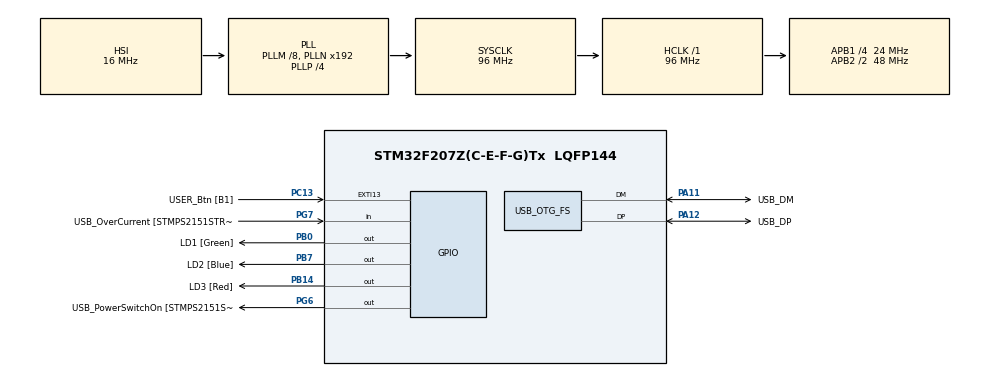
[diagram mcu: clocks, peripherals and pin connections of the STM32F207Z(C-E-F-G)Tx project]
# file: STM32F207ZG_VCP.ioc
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Mcu.Family=STM32F2
Mcu.Name=STM32F207Z(C-E-F-G)Tx
Mcu.Package=LQFP144
NVIC.OTG_FS_IRQn=true\:0\:0\:false\:false\:true\:false\:true\:true
NVIC.PriorityGroup=NVIC_PRIORITYGROUP_4
PA1.GPIO_Label=RMII_REF_CLK [LAN8742A-CZ-TR_REFCLK0]
PA1.Signal=ETH_REF_CLK
PA10.GPIO_Label=USB_ID
PA10.Signal=USB_OTG_FS_ID
PA11.GPIO_Label=USB_DM
PA11.Mode=Device_Only
PA11.Signal=USB_OTG_FS_DM
PA12.GPIO_Label=USB_DP
PA12.Mode=Device_Only
PA12.Signal=USB_OTG_FS_DP
PA13.GPIO_Label=TMS
PA13.Signal=SYS_JTMS-SWDIO
PA14.GPIO_Label=TCK
PA14.Signal=SYS_JTCK-SWCLK
PA2.GPIO_Label=RMII_MDIO [LAN8742A-CZ-TR_MDIO]
PA2.Signal=ETH_MDIO
PA7.GPIO_Label=RMII_CRS_DV [LAN8742A-CZ-TR_CRS_DV]
PA7.Signal=ETH_CRS_DV
PA8.GPIO_Label=USB_SOF [TP1]
PA8.Signal=USB_OTG_FS_SOF
PA9.GPIO_Label=USB_VBUS
PA9.Signal=USB_OTG_FS_VBUS
PB0.GPIO_Label=LD1 [Green]
PB0.Signal=GPIO_Output
PB13.GPIO_Label=RMII_TXD1 [LAN8742A-CZ-TR_TXD1]
PB13.Signal=ETH_TXD1
PB14.GPIO_Label=LD3 [Red]
PB14.Signal=GPIO_Output
PB3.GPIO_Label=SWO
PB3.Signal=SYS_JTDO-SWO
PB7.GPIO_Label=LD2 [Blue]
PB7.Signal=GPIO_Output
PC1.GPIO_Label=RMII_MDC [LAN8742A-CZ-TR_MDC]
PC1.Signal=ETH_MDC
PC13.GPIO_Label=USER_Btn [B1]
PC13.Signal=GPXTI13
PC14-OSC32_IN.Signal=RCC_OSC32_IN
PC15-OSC32_OUT.Signal=RCC_OSC32_OUT
PC4.GPIO_Label=RMII_RXD0 [LAN8742A-CZ-TR_RXD0]
PC4.Signal=ETH_RXD0
PC5.GPIO_Label=RMII_RXD1 [LAN8742A-CZ-TR_RXD1]
PC5.Signal=ETH_RXD1
PD8.GPIO_Label=STLK_RX [STM32F103CBT6_PA3]
PD8.Signal=USART3_TX
PD9.GPIO_Label=STLK_TX [STM32F103CBT6_PA2]
PD9.Signal=USART3_RX
PG11.GPIO_Label=RMII_TX_EN [LAN8742A-CZ-TR_TXEN]
PG11.Signal=ETH_TX_EN
PG13.GPIO_Label=RMII_TXD0 [LAN8742A-CZ-TR_TXD0]
PG13.Signal=ETH_TXD0
PG6.GPIO_Label=USB_PowerSwitchOn [STMPS2151STR_EN]
PG6.Signal=GPIO_Output
PG7.GPIO_Label=USB_OverCurrent [STMPS2151STR_FAULT]
PG7.Signal=GPIO_Input
PH0-OSC_IN.GPIO_Label=MCO [STM32F103CBT6_PA8]
PH0-OSC_IN.Signal=RCC_OSC_IN
PH1-OSC_OUT.Signal=RCC_OSC_OUT
ProjectManager.HeapSize=0x200
ProjectManager.StackSize=0x400
ProjectManager.TargetToolchain=STM32CubeIDE
RCC.48MHZClocksFreq_Value=48000000
RCC.AHBFreq_Value=96000000
RCC.APB1CLKDivider=RCC_HCLK_DIV4
RCC.APB1Freq_Value=24000000
RCC.APB1TimFreq_Value=48000000
RCC.APB2CLKDivider=RCC_HCLK_DIV2
RCC.APB2Freq_Value=48000000
RCC.APB2TimFreq_Value=96000000
RCC.CortexFreq_Value=96000000
RCC.HCLKFreq_Value=96000000
RCC.HSE_VALUE=8000000
RCC.HSI_VALUE=16000000
RCC.LSE_VALUE=32768
RCC.PLLM=8
RCC.PLLMUL=RCC_PLL_MUL9
RCC.PLLP=RCC_PLLP_DIV4
RCC.PLLQ=8
RCC.PRESCALERUSB=RCC_USBCLKSOURCE_PLL_DIV1_5
RCC.SYSCLKFreq_VALUE=96000000
RCC.SYSCLKSource=RCC_SYSCLKSOURCE_PLLCLK
RCC.SYSCLKSourceVirtual=RCC_SYSCLKSOURCE_PLLCLK
RCC.USBFreq_Value=48000000
RCC.VCOOutputFreq_Value=384000000
USB_DEVICE.CLASS_NAME_FS=CDC
USB_DEVICE.VirtualMode-CDC_FS=Cdc
USB_DEVICE.VirtualModeFS=Cdc_FS
USB_OTG_FS.VirtualMode=Device_Only
VP_USB_DEVICE_VS_USB_DEVICE_CDC_FS.Mode=CDC_FS
board=NUCLEO-F207ZG

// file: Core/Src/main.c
/* USER CODE BEGIN Header */
/**
  ******************************************************************************
  * @file           : main.c
  * @brief          : Main program body
  ******************************************************************************
  * @attention
  *
  * Copyright (c) 2022 STMicroelectronics.
  * All rights reserved.
  *
  * This software is licensed under terms that can be found in the LICENSE file
  * in the root directory of this software component.
  * If no LICENSE file comes with this software, it is provided AS-IS.
  *
  ******************************************************************************
  */

// elab: armando.rivero@supsi.ch
// date: 2022.08.19

/* USER CODE END Header */
#include "main.h"
#include "usb_device.h"

/* USER CODE BEGIN Includes */
#include <stdlib.h>
#include <string.h>
#include <stdio.h>
/* USER CODE END Includes */

/* USER CODE BEGIN PD */
#define VCP_BUFF_SIZE   100
#define VCP_BUFF_SIZE_2 5000
/* USER CODE END PD */

/* USER CODE BEGIN PV */
extern uint8_t CDC_Transmit_FS(uint8_t* Buf, uint16_t Len); // allows transmitting
/* USER CODE END PV */

void SystemClock_Config(void);
static void MX_GPIO_Init(void);

/* USER CODE BEGIN 0 */
uint8_t msgStr[] = "\ntest VCP OK\n";

int msgVCP_len = 0;
char msgVCP[VCP_BUFF_SIZE];
char msgVCP_2[VCP_BUFF_SIZE_2];

uint8_t bufferVCP_Rx[VCP_BUFF_SIZE];

char strCMD_1[] = "toggleLED";
char strCMD_2[] = "sendValues";
/* USER CODE END 0 */

int main(void)
{
  /* USER CODE BEGIN 1 */
  const char *tokenSeparator = ".\n\r";
  char* token;
  int toggleVar = 0;
  /* USER CODE END 1 */

  /* MCU Configuration--------------------------------------------------------*/

  /* Reset of all peripherals, Initializes the Flash interface and the Systick. */
  HAL_Init();

  /* Configure the system clock */
  SystemClock_Config();

  /* Initialize all configured peripherals */
  MX_GPIO_Init();
  MX_USB_DEVICE_Init();

  /* Infinite loop */
  /* USER CODE BEGIN WHILE */
  unsigned int cnt = 100;

  // Filling a vector with dummy consecutive data
  for(int i=0; i<VCP_BUFF_SIZE_2;i++)
  {
    msgVCP_2[i] = 0x30 + (i % 10);
  }

  while (1)
  {
    // tokenize command recevied in CDC_Receive_FS(...) (file: usbd_cdc_ig.c)
    token = strtok((char*)bufferVCP_Rx,tokenSeparator);
    if (token != NULL)
    {
      if(strcmp(token,strCMD_1) == 0)
      {
        HAL_GPIO_TogglePin(GPIOB, GPIO_PIN_14);
        memset (bufferVCP_Rx, '\0', 64);  // clear the VCP buffer always
        toggleVar = !toggleVar;
        if(toggleVar)
        {
          msgVCP_len = sprintf(msgVCP, "LED ON\n");
          CDC_Transmit_FS((uint8_t *)msgVCP, msgVCP_len);
        }
        else
        {
          msgVCP_len = sprintf(msgVCP, "LED OFF\n");
          CDC_Transmit_FS((uint8_t *)msgVCP, msgVCP_len);
        }
      }
      if(strcmp(token,strCMD_2) == 0)
      {
        CDC_Transmit_FS(msgStr,sizeof(msgStr)-1);

        while(cnt != 0)
        {
          HAL_GPIO_TogglePin (GPIOB, GPIO_PIN_0);
          HAL_GPIO_TogglePin (GPIOB, GPIO_PIN_7);

          msgVCP_len = sprintf(msgVCP, "cnt:%u ", cnt);
          CDC_Transmit_FS((uint8_t *)msgVCP, msgVCP_len);

          HAL_Delay(1);

          cnt --;
        }
        HAL_Delay(500);
        cnt=100;

        // OPTIONAL: send 5000 characters
        CDC_Transmit_FS((uint8_t *)msgVCP_2,sizeof(msgVCP_2));
        HAL_Delay(100);

        memset (bufferVCP_Rx, '\0', 64);  // clear the VCP buffer always
      }

    }

    /* USER CODE END WHILE */

  }
}

void SystemClock_Config(void)
{
  RCC_OscInitTypeDef RCC_OscInitStruct = {0};
  RCC_ClkInitTypeDef RCC_ClkInitStruct = {0};

  /** Initializes the RCC Oscillators according to the specified parameters
  * in the RCC_OscInitTypeDef structure.
  */
  RCC_OscInitStruct.OscillatorType = RCC_OSCILLATORTYPE_HSI;
  RCC_OscInitStruct.HSIState = RCC_HSI_ON;
  RCC_OscInitStruct.HSICalibrationValue = RCC_HSICALIBRATION_DEFAULT;
  RCC_OscInitStruct.PLL.PLLState = RCC_PLL_ON;
  RCC_OscInitStruct.PLL.PLLSource = RCC_PLLSOURCE_HSI;
  RCC_OscInitStruct.PLL.PLLM = 8;
  RCC_OscInitStruct.PLL.PLLN = 192;
  RCC_OscInitStruct.PLL.PLLP = RCC_PLLP_DIV4;
  RCC_OscInitStruct.PLL.PLLQ = 8;
  if (HAL_RCC_OscConfig(&RCC_OscInitStruct) != HAL_OK)
  {
    Error_Handler();
  }

  /** Initializes the CPU, AHB and APB buses clocks
  */
  RCC_ClkInitStruct.ClockType = RCC_CLOCKTYPE_HCLK|RCC_CLOCKTYPE_SYSCLK
                              |RCC_CLOCKTYPE_PCLK1|RCC_CLOCKTYPE_PCLK2;
  RCC_ClkInitStruct.SYSCLKSource = RCC_SYSCLKSOURCE_PLLCLK;
  RCC_ClkInitStruct.AHBCLKDivider = RCC_SYSCLK_DIV1;
  RCC_ClkInitStruct.APB1CLKDivider = RCC_HCLK_DIV4;
  RCC_ClkInitStruct.APB2CLKDivider = RCC_HCLK_DIV2;

  if (HAL_RCC_ClockConfig(&RCC_ClkInitStruct, FLASH_LATENCY_3) != HAL_OK)
  {
    Error_Handler();
  }
}

static void MX_GPIO_Init(void)
{
  GPIO_InitTypeDef GPIO_InitStruct = {0};

  /* GPIO Ports Clock Enable */
  __HAL_RCC_GPIOC_CLK_ENABLE();
  __HAL_RCC_GPIOH_CLK_ENABLE();
  __HAL_RCC_GPIOA_CLK_ENABLE();
  __HAL_RCC_GPIOB_CLK_ENABLE();
  __HAL_RCC_GPIOD_CLK_ENABLE();
  __HAL_RCC_GPIOG_CLK_ENABLE();

  /*Configure GPIO pin Output Level */
  HAL_GPIO_WritePin(GPIOB, LD1_Pin|LD3_Pin|LD2_Pin, GPIO_PIN_RESET);

  /*Configure GPIO pin Output Level */
  HAL_GPIO_WritePin(USB_PowerSwitchOn_GPIO_Port, USB_PowerSwitchOn_Pin, GPIO_PIN_RESET);

  /*Configure GPIO pin : USER_Btn_Pin */
  GPIO_InitStruct.Pin = USER_Btn_Pin;
  GPIO_InitStruct.Mode = GPIO_MODE_IT_RISING;
  GPIO_InitStruct.Pull = GPIO_NOPULL;
  HAL_GPIO_Init(USER_Btn_GPIO_Port, &GPIO_InitStruct);

  /*Configure GPIO pins : RMII_MDC_Pin RMII_RXD0_Pin RMII_RXD1_Pin */
  GPIO_InitStruct.Pin = RMII_MDC_Pin|RMII_RXD0_Pin|RMII_RXD1_Pin;
  GPIO_InitStruct.Mode = GPIO_MODE_AF_PP;
  GPIO_InitStruct.Pull = GPIO_NOPULL;
  GPIO_InitStruct.Speed = GPIO_SPEED_FREQ_VERY_HIGH;
  GPIO_InitStruct.Alternate = GPIO_AF11_ETH;
  HAL_GPIO_Init(GPIOC, &GPIO_InitStruct);

  /*Configure GPIO pins : RMII_REF_CLK_Pin RMII_MDIO_Pin RMII_CRS_DV_Pin */
  GPIO_InitStruct.Pin = RMII_REF_CLK_Pin|RMII_MDIO_Pin|RMII_CRS_DV_Pin;
  GPIO_InitStruct.Mode = GPIO_MODE_AF_PP;
  GPIO_InitStruct.Pull = GPIO_NOPULL;
  GPIO_InitStruct.Speed = GPIO_SPEED_FREQ_VERY_HIGH;
  GPIO_InitStruct.Alternate = GPIO_AF11_ETH;
  HAL_GPIO_Init(GPIOA, &GPIO_InitStruct);

  /*Configure GPIO pins : LD1_Pin LD3_Pin LD2_Pin */
  GPIO_InitStruct.Pin = LD1_Pin|LD3_Pin|LD2_Pin;
  GPIO_InitStruct.Mode = GPIO_MODE_OUTPUT_PP;
  GPIO_InitStruct.Pull = GPIO_NOPULL;
  GPIO_InitStruct.Speed = GPIO_SPEED_FREQ_LOW;
  HAL_GPIO_Init(GPIOB, &GPIO_InitStruct);

  /*Configure GPIO pin : RMII_TXD1_Pin */
  GPIO_InitStruct.Pin = RMII_TXD1_Pin;
  GPIO_InitStruct.Mode = GPIO_MODE_AF_PP;
  GPIO_InitStruct.Pull = GPIO_NOPULL;
  GPIO_InitStruct.Speed = GPIO_SPEED_FREQ_VERY_HIGH;
  GPIO_InitStruct.Alternate = GPIO_AF11_ETH;
  HAL_GPIO_Init(RMII_TXD1_GPIO_Port, &GPIO_InitStruct);

  /*Configure GPIO pins : STLK_RX_Pin STLK_TX_Pin */
  GPIO_InitStruct.Pin = STLK_RX_Pin|STLK_TX_Pin;
  GPIO_InitStruct.Mode = GPIO_MODE_AF_PP;
  GPIO_InitStruct.Pull = GPIO_NOPULL;
  GPIO_InitStruct.Speed = GPIO_SPEED_FREQ_VERY_HIGH;
  GPIO_InitStruct.Alternate = GPIO_AF7_USART3;
  HAL_GPIO_Init(GPIOD, &GPIO_InitStruct);

  /*Configure GPIO pin : USB_PowerSwitchOn_Pin */
  GPIO_InitStruct.Pin = USB_PowerSwitchOn_Pin;
  GPIO_InitStruct.Mode = GPIO_MODE_OUTPUT_PP;
  GPIO_InitStruct.Pull = GPIO_NOPULL;
  GPIO_InitStruct.Speed = GPIO_SPEED_FREQ_LOW;
  HAL_GPIO_Init(USB_PowerSwitchOn_GPIO_Port, &GPIO_InitStruct);

  /*Configure GPIO pin : USB_OverCurrent_Pin */
  GPIO_InitStruct.Pin = USB_OverCurrent_Pin;
  GPIO_InitStruct.Mode = GPIO_MODE_INPUT;
  GPIO_InitStruct.Pull = GPIO_NOPULL;
  HAL_GPIO_Init(USB_OverCurrent_GPIO_Port, &GPIO_InitStruct);

  /*Configure GPIO pins : RMII_TX_EN_Pin RMII_TXD0_Pin */
  GPIO_InitStruct.Pin = RMII_TX_EN_Pin|RMII_TXD0_Pin;
  GPIO_InitStruct.Mode = GPIO_MODE_AF_PP;
  GPIO_InitStruct.Pull = GPIO_NOPULL;
  GPIO_InitStruct.Speed = GPIO_SPEED_FREQ_VERY_HIGH;
  GPIO_InitStruct.Alternate = GPIO_AF11_ETH;
  HAL_GPIO_Init(GPIOG, &GPIO_InitStruct);

}

void Error_Handler(void)
{
  __disable_irq();
  while (1)
  {
  }
}
